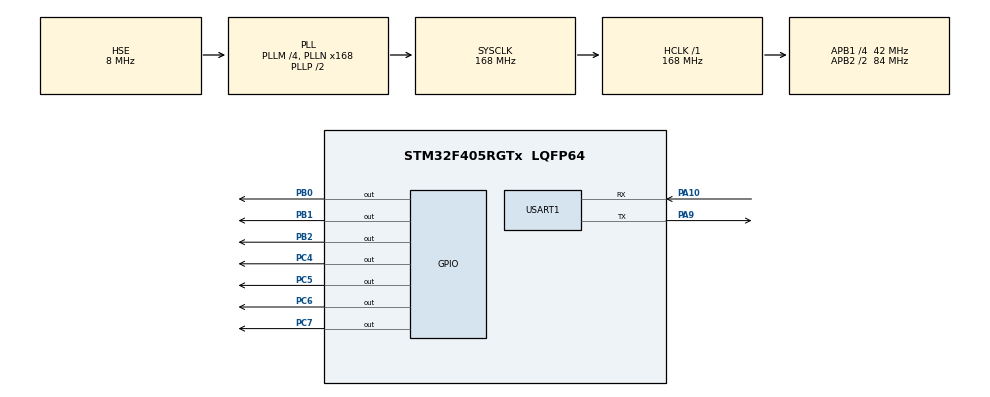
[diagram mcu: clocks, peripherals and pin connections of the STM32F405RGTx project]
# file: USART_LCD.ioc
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Mcu.Family=STM32F4
Mcu.Name=STM32F405RGTx
Mcu.Package=LQFP64
NVIC.PriorityGroup=NVIC_PRIORITYGROUP_4
NVIC.USART1_IRQn=true\:0\:0\:false\:false\:true\:true\:true
PA10.Mode=Asynchronous
PA10.Signal=USART1_RX
PA13.Mode=Serial_Wire
PA13.Signal=SYS_JTMS-SWDIO
PA14.Mode=Serial_Wire
PA14.Signal=SYS_JTCK-SWCLK
PA9.Mode=Asynchronous
PA9.Signal=USART1_TX
PB0.Signal=GPIO_Output
PB1.Signal=GPIO_Output
PB2.Signal=GPIO_Output
PC4.Signal=GPIO_Output
PC5.Signal=GPIO_Output
PC6.Signal=GPIO_Output
PC7.Signal=GPIO_Output
PH0-OSC_IN.Mode=HSE-External-Oscillator
PH0-OSC_IN.Signal=RCC_OSC_IN
PH1-OSC_OUT.Mode=HSE-External-Oscillator
PH1-OSC_OUT.Signal=RCC_OSC_OUT
ProjectManager.HeapSize=0x200
ProjectManager.StackSize=0x400
ProjectManager.TargetToolchain=EWARM V8.32
RCC.48MHZClocksFreq_Value=84000000
RCC.AHBFreq_Value=168000000
RCC.APB1CLKDivider=RCC_HCLK_DIV4
RCC.APB1Freq_Value=42000000
RCC.APB1TimFreq_Value=84000000
RCC.APB2CLKDivider=RCC_HCLK_DIV2
RCC.APB2Freq_Value=84000000
RCC.APB2TimFreq_Value=168000000
RCC.CortexFreq_Value=168000000
RCC.HCLKFreq_Value=168000000
RCC.HSE_VALUE=8000000
RCC.HSI_VALUE=16000000
RCC.LSE_VALUE=32768
RCC.PLLM=4
RCC.PLLN=168
RCC.PLLSourceVirtual=RCC_PLLSOURCE_HSE
RCC.SYSCLKFreq_VALUE=168000000
RCC.SYSCLKSource=RCC_SYSCLKSOURCE_PLLCLK
RCC.VCOOutputFreq_Value=336000000
USART1.VirtualMode=VM_ASYNC
board=custom

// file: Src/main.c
/* USER CODE BEGIN Header */
/**
  ******************************************************************************
  * @file           : main.c
  * @brief          : Main program body
  ******************************************************************************
  * @attention
  *
  * <h2><center>&copy; Copyright (c) 2020 STMicroelectronics.
  * All rights reserved.</center></h2>
  *
  * This software component is licensed by ST under BSD 3-Clause license,
  * the "License"; You may not use this file except in compliance with the
  * License. You may obtain a copy of the License at:
  *                        opensource.org/licenses/BSD-3-Clause
  *
  ******************************************************************************
  */
/* USER CODE END Header */

#include "main.h"
#include "usart.h"
#include "gpio.h"

/* USER CODE BEGIN Includes */
#include "lcd.h"
/* USER CODE END Includes */

/* USER CODE BEGIN PV */
uint8_t rxData=0;
int cnt=1;
/* USER CODE END PV */

void SystemClock_Config(void);

int main(void)
{

  /* MCU Configuration--------------------------------------------------------*/

  /* Reset of all peripherals, Initializes the Flash interface and the Systick. */
  HAL_Init();

  /* Configure the system clock */
  SystemClock_Config();

  /* Initialize all configured peripherals */
  MX_GPIO_Init();
  MX_USART1_UART_Init();
  HAL_UART_Receive_IT(&huart1,&rxData,1);
  /* USER CODE BEGIN 2 */
  lcdInit();
  lcdGotoXY(0,0);

  /* USER CODE END 2 */

  /* Infinite loop */
  while (1)
  {

  }
}

void SystemClock_Config(void)
{
  RCC_OscInitTypeDef RCC_OscInitStruct = {0};
  RCC_ClkInitTypeDef RCC_ClkInitStruct = {0};

  /** Configure the main internal regulator output voltage
  */
  __HAL_RCC_PWR_CLK_ENABLE();
  __HAL_PWR_VOLTAGESCALING_CONFIG(PWR_REGULATOR_VOLTAGE_SCALE1);
  /** Initializes the CPU, AHB and APB busses clocks
  */
  RCC_OscInitStruct.OscillatorType = RCC_OSCILLATORTYPE_HSE;
  RCC_OscInitStruct.HSEState = RCC_HSE_ON;
  RCC_OscInitStruct.PLL.PLLState = RCC_PLL_ON;
  RCC_OscInitStruct.PLL.PLLSource = RCC_PLLSOURCE_HSE;
  RCC_OscInitStruct.PLL.PLLM = 4;
  RCC_OscInitStruct.PLL.PLLN = 168;
  RCC_OscInitStruct.PLL.PLLP = RCC_PLLP_DIV2;
  RCC_OscInitStruct.PLL.PLLQ = 4;
  if (HAL_RCC_OscConfig(&RCC_OscInitStruct) != HAL_OK)
  {
    Error_Handler();
  }
  /** Initializes the CPU, AHB and APB busses clocks
  */
  RCC_ClkInitStruct.ClockType = RCC_CLOCKTYPE_HCLK|RCC_CLOCKTYPE_SYSCLK
                              |RCC_CLOCKTYPE_PCLK1|RCC_CLOCKTYPE_PCLK2;
  RCC_ClkInitStruct.SYSCLKSource = RCC_SYSCLKSOURCE_PLLCLK;
  RCC_ClkInitStruct.AHBCLKDivider = RCC_SYSCLK_DIV1;
  RCC_ClkInitStruct.APB1CLKDivider = RCC_HCLK_DIV4;
  RCC_ClkInitStruct.APB2CLKDivider = RCC_HCLK_DIV2;

  if (HAL_RCC_ClockConfig(&RCC_ClkInitStruct, FLASH_LATENCY_5) != HAL_OK)
  {
    Error_Handler();
  }
}

/* USER CODE BEGIN 4 */
void HAL_UART_RxCpltCallback(UART_HandleTypeDef *huart) // 인터럽트
{
  if(huart->Instance == USART1)
  {

    HAL_UART_Receive_IT(&huart1,&rxData,1);
    HAL_UART_Transmit(&huart1,&rxData,1,10);

    if(cnt==17) lcdGotoXY(0,1);
    else if(cnt==33)
    {
      lcdClear();
      lcdHome();
      cnt=0;
    }

    if(rxData=='c') lcdClear();

    lcdDataWrite(rxData);
    cnt++;

  }
}
/* USER CODE END 4 */

void Error_Handler(void)
{
}

/************************ (C) COPYRIGHT STMicroelectronics *****END OF FILE****/
